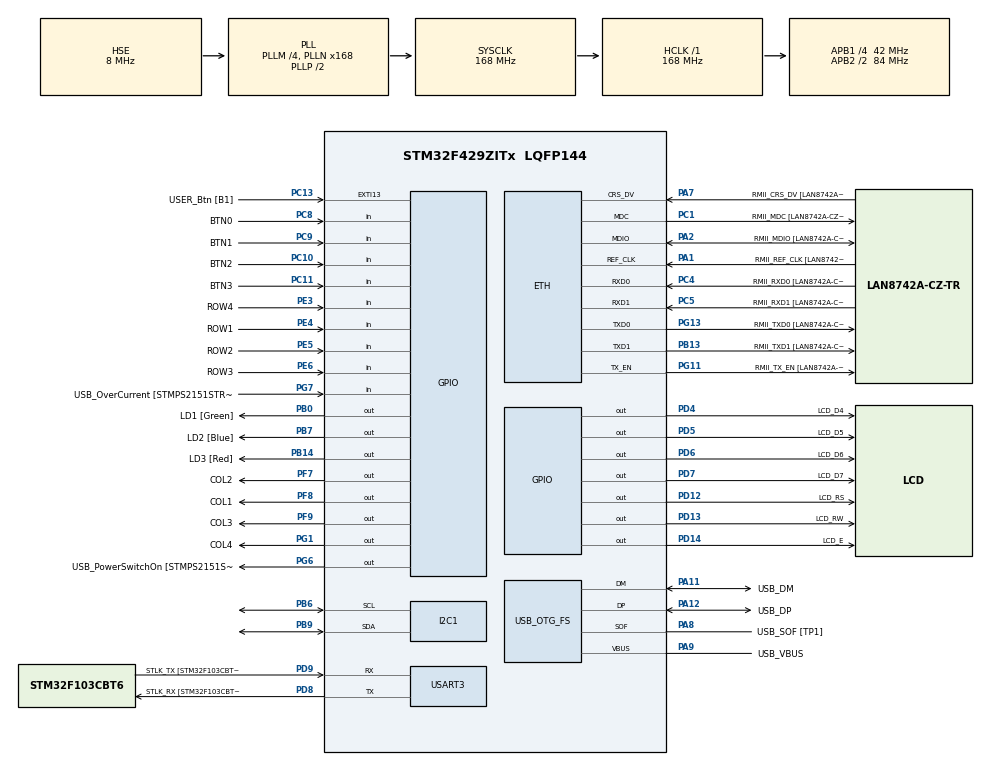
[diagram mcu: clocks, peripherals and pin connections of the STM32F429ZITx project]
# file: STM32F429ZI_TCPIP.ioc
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ETH.MACAddr=00\:80\:E1\:93\:39\:53
ETH.MediaInterface=ETH_MEDIA_INTERFACE_RMII
ETH.PHY_Name=LAN8742A_PHY_ADDRESS
ETH.PHY_Value=0
ETH.PhyAddress=0
LWIP.GATEWAY_ADDRESS=010.010.017.254
LWIP.IP_ADDRESS=010.010.017.142
LWIP.LWIP_DHCP=0
LWIP.NETMASK_ADDRESS=255.255.255.000
LWIP.Version=v2.1.2_Cube
Mcu.Family=STM32F4
Mcu.Name=STM32F429ZITx
Mcu.Package=LQFP144
NVIC.ETH_IRQn=true\:0\:0\:false\:false\:true\:true\:true
NVIC.ETH_WKUP_IRQn=true\:0\:0\:false\:false\:true\:true\:true
NVIC.PriorityGroup=NVIC_PRIORITYGROUP_4
NVIC.TIM1_TRG_COM_TIM11_IRQn=true\:0\:0\:false\:false\:true\:true\:true
PA1.GPIO_Label=RMII_REF_CLK [LAN8742A-CZ-TR_REFCLK0]
PA1.Mode=RMII
PA1.Signal=ETH_REF_CLK
PA10.GPIO_Label=USB_ID
PA10.Signal=USB_OTG_FS_ID
PA11.GPIO_Label=USB_DM
PA11.Mode=Device_Only
PA11.Signal=USB_OTG_FS_DM
PA12.GPIO_Label=USB_DP
PA12.Mode=Device_Only
PA12.Signal=USB_OTG_FS_DP
PA13.GPIO_Label=TMS
PA13.Mode=Serial_Wire
PA13.Signal=SYS_JTMS-SWDIO
PA14.GPIO_Label=TCK
PA14.Mode=Serial_Wire
PA14.Signal=SYS_JTCK-SWCLK
PA2.GPIO_Label=RMII_MDIO [LAN8742A-CZ-TR_MDIO]
PA2.Mode=RMII
PA2.Signal=ETH_MDIO
PA7.GPIO_Label=RMII_CRS_DV [LAN8742A-CZ-TR_CRS_DV]
PA7.Mode=RMII
PA7.Signal=ETH_CRS_DV
PA8.GPIO_Label=USB_SOF [TP1]
PA8.Mode=Activate_SOF_FS
PA8.Signal=USB_OTG_FS_SOF
PA9.GPIO_Label=USB_VBUS
PA9.Mode=Activate_VBUS
PA9.Signal=USB_OTG_FS_VBUS
PB0.GPIO_Label=LD1 [Green]
PB0.Signal=GPIO_Output
PB13.GPIO_Label=RMII_TXD1 [LAN8742A-CZ-TR_TXD1]
PB13.Mode=RMII
PB13.Signal=ETH_TXD1
PB14.GPIO_Label=LD3 [Red]
PB14.Signal=GPIO_Output
PB6.Mode=I2C
PB6.Signal=I2C1_SCL
PB7.GPIO_Label=LD2 [Blue]
PB7.Signal=GPIO_Output
PB9.Mode=I2C
PB9.Signal=I2C1_SDA
PC1.GPIO_Label=RMII_MDC [LAN8742A-CZ-TR_MDC]
PC1.Mode=RMII
PC1.Signal=ETH_MDC
PC10.GPIO_Label=BTN2
PC10.Signal=GPIO_Input
PC11.GPIO_Label=BTN3
PC11.Signal=GPIO_Input
PC13.GPIO_Label=USER_Btn [B1]
PC13.Signal=GPXTI13
PC14/OSC32_IN.Mode=LSE-External-Oscillator
PC14/OSC32_IN.Signal=RCC_OSC32_IN
PC15/OSC32_OUT.Mode=LSE-External-Oscillator
PC15/OSC32_OUT.Signal=RCC_OSC32_OUT
PC4.GPIO_Label=RMII_RXD0 [LAN8742A-CZ-TR_RXD0]
PC4.Mode=RMII
PC4.Signal=ETH_RXD0
PC5.GPIO_Label=RMII_RXD1 [LAN8742A-CZ-TR_RXD1]
PC5.Mode=RMII
PC5.Signal=ETH_RXD1
PC8.GPIO_Label=BTN0
PC8.Signal=GPIO_Input
PC9.GPIO_Label=BTN1
PC9.Signal=GPIO_Input
PD12.GPIO_Label=LCD_RS
PD12.Signal=GPIO_Output
PD13.GPIO_Label=LCD_RW
PD13.Signal=GPIO_Output
PD14.GPIO_Label=LCD_E
PD14.Signal=GPIO_Output
PD4.GPIO_Label=LCD_D4
PD4.Signal=GPIO_Output
PD5.GPIO_Label=LCD_D5
PD5.Signal=GPIO_Output
PD6.GPIO_Label=LCD_D6
PD6.Signal=GPIO_Output
PD7.GPIO_Label=LCD_D7
PD7.Signal=GPIO_Output
PD8.GPIO_Label=STLK_RX [STM32F103CBT6_PA3]
PD8.Mode=Asynchronous
PD8.Signal=USART3_TX
PD9.GPIO_Label=STLK_TX [STM32F103CBT6_PA2]
PD9.Mode=Asynchronous
PD9.Signal=USART3_RX
PE3.GPIO_Label=ROW4
PE3.GPIO_PuPd=GPIO_PULLDOWN
PE3.Signal=GPIO_Input
PE4.GPIO_Label=ROW1
PE4.GPIO_PuPd=GPIO_PULLDOWN
PE4.Signal=GPIO_Input
PE5.GPIO_Label=ROW2
PE5.GPIO_PuPd=GPIO_PULLDOWN
PE5.Signal=GPIO_Input
PE6.GPIO_Label=ROW3
PE6.GPIO_PuPd=GPIO_PULLDOWN
PE6.Signal=GPIO_Input
PF7.GPIO_Label=COL2
PF7.Signal=GPIO_Output
PF8.GPIO_Label=COL1
PF8.Signal=GPIO_Output
PF9.GPIO_Label=COL3
PF9.Signal=GPIO_Output
PG1.GPIO_Label=COL4
PG1.Signal=GPIO_Output
PG11.GPIO_Label=RMII_TX_EN [LAN8742A-CZ-TR_TXEN]
PG11.Mode=RMII
PG11.Signal=ETH_TX_EN
PG13.GPIO_Label=RMII_TXD0 [LAN8742A-CZ-TR_TXD0]
PG13.Mode=RMII
PG13.Signal=ETH_TXD0
PG6.GPIO_Label=USB_PowerSwitchOn [STMPS2151STR_EN]
PG6.Signal=GPIO_Output
PG7.GPIO_Label=USB_OverCurrent [STMPS2151STR_FAULT]
PG7.Signal=GPIO_Input
PH0/OSC_IN.GPIO_Label=MCO [STM32F103CBT6_PA8]
PH0/OSC_IN.Mode=HSE-External-Clock-Source
PH0/OSC_IN.Signal=RCC_OSC_IN
PH1/OSC_OUT.Mode=HSE-External-Clock-Source
PH1/OSC_OUT.Signal=RCC_OSC_OUT
ProjectManager.HeapSize=0x200
ProjectManager.StackSize=0x400
ProjectManager.TargetToolchain=STM32CubeIDE
RCC.48MHZClocksFreq_Value=48000000
RCC.AHBFreq_Value=168000000
RCC.APB1CLKDivider=RCC_HCLK_DIV4
RCC.APB1Freq_Value=42000000
RCC.APB1TimFreq_Value=84000000
RCC.APB2CLKDivider=RCC_HCLK_DIV2
RCC.APB2Freq_Value=84000000
RCC.APB2TimCLKDivider=2
RCC.APB2TimFreq_Value=168000000
RCC.CortexFreq_Value=168000000
RCC.HCLKFreq_Value=168000000
RCC.HSE_VALUE=8000000
RCC.HSI_VALUE=16000000
RCC.PLLM=4
RCC.PLLMUL=RCC_PLL_MUL9
RCC.PLLN=168
RCC.PLLQ=7
RCC.PRESCALERUSB=RCC_USBCLKSOURCE_PLL_DIV1_5
RCC.SYSCLKFreq_VALUE=168000000
RCC.SYSCLKSource=RCC_SYSCLKSOURCE_PLLCLK
RCC.SYSCLKSourceVirtual=RCC_SYSCLKSOURCE_PLLCLK
RCC.USBFreq_Value=48000000
RCC.VCOOutputFreq_Value=336000000
TIM11.Prescaler=168-1
USART3.VirtualMode=VM_ASYNC
USB_OTG_FS.VirtualMode=Device_Only
VP_LWIP_VS_Enabled.Mode=Enabled
VP_TIM11_VS_ClockSourceINT.Mode=Enable_Timer
board=NUCLEO-F429ZI

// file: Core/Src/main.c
/* USER CODE BEGIN Header */
/**
  ******************************************************************************
  * @file           : main.c
  * @brief          : Main program body
  ******************************************************************************
  * @attention
  *
  * <h2><center>&copy; Copyright (c) 2024 STMicroelectronics.
  * All rights reserved.</center></h2>
  *
  * This software component is licensed by ST under BSD 3-Clause license,
  * the "License"; You may not use this file except in compliance with the
  * License. You may obtain a copy of the License at:
  *                        opensource.org/licenses/BSD-3-Clause
  *
  ******************************************************************************
  */
/* USER CODE END Header */
#include "main.h"
#include "lwip.h"

/* USER CODE BEGIN Includes */
#include "circularQueue.h"
#include "udp_echoserver.h"
#include "calculater.h"
#include <stdio.h>
#include <string.h>
#include "i2c_lcd.h"
#include "udp.h"
/* USER CODE END Includes */

I2C_HandleTypeDef hi2c1;

TIM_HandleTypeDef htim11;

UART_HandleTypeDef huart3;

PCD_HandleTypeDef hpcd_USB_OTG_FS;

/* USER CODE BEGIN PV */
extern uint8_t udp_flag;     // Add 10.28
extern uint8_t led_flag; // 10.28
extern struct netif gnetif; //10.28
extern struct udp_pcb *upcb1;    // Add 10.28
//uint8_t key_value;
extern int count0;
extern int count1;
extern int count2;
extern int count3;

calculator calc = NULL;
ip_addr_t addr1;   // Add 10.28
struct pbuf *p1; // ADD 10.28 // send buffer
/* USER CODE END PV */

void SystemClock_Config(void);
static void MX_GPIO_Init(void);
static void MX_USART3_UART_Init(void);
static void MX_USB_OTG_FS_PCD_Init(void);
static void MX_I2C1_Init(void);
static void MX_TIM11_Init(void);
/* USER CODE BEGIN PFP */
extern uint8_t keypadScan();
extern Queue keypad_queue;
extern uint8_t button0_check();
extern uint8_t button1_check();
extern uint8_t button2_check();
extern uint8_t button3_check();
extern void convert_infix_to_postfix(char* infix, char* postfix);
extern void removec(char* source);
extern void Push(struct calculation** top_add, double x);
extern double Pop(struct calculation** top_add);
extern double evaluate(char* postfix);
extern void print_postfix(const char* postfix);
extern void i2c_lcd_init(void);
extern int new_input();

extern void gpio_lcd_init(void); //10.29
extern void gpio_lcd_cursor(int row , int col);
extern void gpio_lcd_write_string(char *string);
//extern void keypadInit();
/* USER CODE END PFP */

/* USER CODE BEGIN 0 */
#ifdef __GNUC__    // Add for printf
/* With GCC, small printf (option LD Linker->Libraries->Small printf
   set to 'Yes') calls __io_putchar() */
#define PUTCHAR_PROTOTYPE int __io_putchar(int ch)
#else
#define PUTCHAR_PROTOTYPE int fputc(int ch, FILE *f)
#endif /* __GNUC__ */
/**
  * @brief  Retargets the C library printf function to the USART.
  * @param  None
  * @retval None
  */
PUTCHAR_PROTOTYPE   // Add for printf
{
  /* Place your implementation of fputc here */
  /* e.g. write a character to the USART2 and Loop until the end of transmission */
  HAL_UART_Transmit(&huart3, (uint8_t *)&ch, 1, 0xFFFF);

  return ch;
}
//TIM11 : 65ms (1us * 65535 ==> about 65ms)
volatile int TIM11_65ms_counter = 0;
volatile int TIM11_sec_counter = 0;

void HAL_TIM_PeriodElapsedCallback(TIM_HandleTypeDef *htim)
{
	if(htim->Instance == TIM11)
	{
		TIM11_65ms_counter++;
	    uint8_t key_value = keypadScan();
	    uint8_t button_value2 = button2_check();
		uint8_t button_value3 = button3_check();

	    if (key_value)
	    {
	        Push(&calc, key_value);
	        Enqueue(&keypad_queue, key_value);
	    }

	    if (button_value2)
	    {
	        Push(&calc, button_value2);
	        Enqueue(&keypad_queue, button_value2);
	    }
	    if (button_value3)
		{
			Push(&calc, button_value3);
			Enqueue(&keypad_queue, button_value3);
		}

	}

}
/* USER CODE END 0 */

int main(void)
{
  /* USER CODE BEGIN 1 */
	char sbuff[50]; //ADD HS 10.28
  /* USER CODE END 1 */

  /* MCU Configuration--------------------------------------------------------*/

  /* Reset of all peripherals, Initializes the Flash interface and the Systick. */
  HAL_Init();

  /* Configure the system clock */
  SystemClock_Config();

  /* Initialize all configured peripherals */
  MX_GPIO_Init();
  MX_USART3_UART_Init();
  MX_USB_OTG_FS_PCD_Init();
  MX_I2C1_Init();
  MX_TIM11_Init();
  MX_LWIP_Init();
  /* USER CODE BEGIN 2 */
  HAL_TIM_Base_Start_IT(&htim11); //65msec timer Interrupt
  QueueInit(&keypad_queue);
  keypadInit();
  i2c_lcd_init();
  //udp_echoserver_init();

  gpio_lcd_init(); //10.29
  //create new UDP control block
  //upcb1 = udp_new(); //10.28 memory on
//  IP4_ADDR(&addr1, 10,10,17,142); //10.28 STM32 IP Address
 // IP4_ADDR(&addr1, 10,10,17,110); //10.28 STM32 IP Address
  //udp_bind(upcb1,IP_ADDR_ANY, 9999); //10.28 SW Port Num

  char infix[100];
  char postfix[100];
  char lcd_buff[100];

  //move_cursor(0,0);
  //lcd_string("Stack Calculator");

  char gpio_lcd_buff[100];

  /* USER CODE END 2 */

  /* Infinite loop */
  /* USER CODE BEGIN WHILE */

  while (1)
  {
	  gpio_lcd_cursor(0,0);
	  gpio_lcd_write_string("HELLO WORLD!");
	  button0_check();
	  button1_check();
	  static uint8_t data;
	  static uint8_t data2;
	  static int inp_index = 0;

		if(count0 != 0)
		{
			i2c_lcd_init();
			move_cursor(0,0);
			lcd_string("Stack Calculator");
			count0 = 0;
			inp_index = 0;
			memset(infix, 0, sizeof(infix));
			memset(postfix, 0, sizeof(postfix));

		}

		if(count1 != 0 && inp_index > 0)
		{
			if (infix[inp_index - 1] == '(')
			{
				count2--;
			}
			else if (infix[inp_index - 1] == ')')
			{
				count3--;
			}

			inp_index--;
			infix[inp_index] = '\0';
			count1 = 0;

			move_cursor(0, 0);
			lcd_string("                ");
			move_cursor(0,0);
			sprintf(lcd_buff,"%s",infix); //10.26
			lcd_string((unsigned char *)lcd_buff);
		}

		if (QIsEmpty(&keypad_queue) != TRUE)
			{
				data = Dequeue(&keypad_queue);
				data2 = Pop(&calc);

				if (data2 != '=')
				{
					infix[inp_index++] = data2;
					infix[inp_index] = '\0';
					printf("%s\n", infix);
					i2c_lcd_init();
					move_cursor(0,0);
					sprintf(lcd_buff,"%s",infix); //10.26
					lcd_string((unsigned char *)lcd_buff);
				}

				else if(count2 != count3)
				{
					move_cursor(0, 0);
					lcd_string("WrongParenthesis");

					inp_index = 0;
					memset(infix, 0, sizeof(infix));
					memset(postfix, 0, sizeof(postfix));

					HAL_Delay(1500);

					i2c_lcd_init();
					move_cursor(0,0);
					lcd_string("Stack Calculator");
					count2 = 0;
					count3 = 0;
				}
				else
				{

					for(int i = 0 ; i < 3 ; i++)
					{
						i2c_lcd_init();
						removec(infix);
						printf("empty line : %s\n",infix);
						move_cursor(0, 0);
						lcd_string("Empty line : ");
						move_cursor(1, 0);
						sprintf(lcd_buff, "%s", infix);
						lcd_string((unsigned char *)lcd_buff);

						HAL_Delay(1500);

						i2c_lcd_init();
						convert_infix_to_postfix(infix, postfix);
						printf("postfix: %s\n", postfix);
						move_cursor(0,0);
						lcd_string("Postfix : ");
						move_cursor(1,0);
						sprintf(lcd_buff,"%s",postfix); //10.26
						lcd_string((unsigned char *)lcd_buff);

						HAL_Delay(1500);

						i2c_lcd_init();
						double result = evaluate(postfix);
						printf("result: %.2f\n", result);
						move_cursor(0,0);
						lcd_string("Result : ");
						move_cursor(1,0);
						sprintf(lcd_buff,"%.2f",result); //10.26
						lcd_string((unsigned char *)lcd_buff);

						HAL_Delay(1500);

					}

					i2c_lcd_init();
				    move_cursor(0,0);
				    lcd_string("Stack Calculator");

				    inp_index = 0;
					memset(infix, 0, sizeof(infix));
					memset(postfix, 0, sizeof(postfix));

				}
	  		}
	//------------------- TCP/IP START --------------------
	ethernetif_input(&gnetif);
	sys_check_timeouts();
	if(led_flag == 1)
	{
		HAL_GPIO_WritePin(LD2_GPIO_Port, LD2_Pin, 1);
	}
	else
	{
		HAL_GPIO_WritePin(LD2_GPIO_Port, LD2_Pin, 0);
	}

    if(TIM11_65ms_counter >= 16)
    {
    	TIM11_65ms_counter = 0;
    	TIM11_sec_counter++;
    	udp_connect(upcb1, &addr1, 9999);

    	//sec_count : 0001
    	//sec_count : 0002
    	//sec_count : 0003
    	sprintf(sbuff,"sec_count : %04d", TIM11_sec_counter); //uart�?? ?��?��기에 \n?? ?��?��
    	p1 = pbuf_alloc(PBUF_TRANSPORT,strlen(sbuff), PBUF_POOL);
    	if(p1 != NULL)
    	{
    		//COPY DATA to pbuf
    		pbuf_take(p1, sbuff, strlen(sbuff));
    		//Send udp data
    		udp_send(upcb1, p1);
    		udp_disconnect(upcb1);
    		//free pbuf
    		pbuf_free(p1);
    	}
    	else
    	{
    		printf("pbuf not allocated !!! \n");
    	}
    }

	//------------------- TCP/IP END --------------------
	//HAL_Delay(1);
    /* USER CODE END WHILE */

	}
}

void SystemClock_Config(void)
{
  RCC_OscInitTypeDef RCC_OscInitStruct = {0};
  RCC_ClkInitTypeDef RCC_ClkInitStruct = {0};

  /** Configure the main internal regulator output voltage
  */
  __HAL_RCC_PWR_CLK_ENABLE();
  __HAL_PWR_VOLTAGESCALING_CONFIG(PWR_REGULATOR_VOLTAGE_SCALE1);
  /** Initializes the RCC Oscillators according to the specified parameters
  * in the RCC_OscInitTypeDef structure.
  */
  RCC_OscInitStruct.OscillatorType = RCC_OSCILLATORTYPE_HSE;
  RCC_OscInitStruct.HSEState = RCC_HSE_BYPASS;
  RCC_OscInitStruct.PLL.PLLState = RCC_PLL_ON;
  RCC_OscInitStruct.PLL.PLLSource = RCC_PLLSOURCE_HSE;
  RCC_OscInitStruct.PLL.PLLM = 4;
  RCC_OscInitStruct.PLL.PLLN = 168;
  RCC_OscInitStruct.PLL.PLLP = RCC_PLLP_DIV2;
  RCC_OscInitStruct.PLL.PLLQ = 7;
  if (HAL_RCC_OscConfig(&RCC_OscInitStruct) != HAL_OK)
  {
    Error_Handler();
  }
  /** Initializes the CPU, AHB and APB buses clocks
  */
  RCC_ClkInitStruct.ClockType = RCC_CLOCKTYPE_HCLK|RCC_CLOCKTYPE_SYSCLK
                              |RCC_CLOCKTYPE_PCLK1|RCC_CLOCKTYPE_PCLK2;
  RCC_ClkInitStruct.SYSCLKSource = RCC_SYSCLKSOURCE_PLLCLK;
  RCC_ClkInitStruct.AHBCLKDivider = RCC_SYSCLK_DIV1;
  RCC_ClkInitStruct.APB1CLKDivider = RCC_HCLK_DIV4;
  RCC_ClkInitStruct.APB2CLKDivider = RCC_HCLK_DIV2;

  if (HAL_RCC_ClockConfig(&RCC_ClkInitStruct, FLASH_LATENCY_5) != HAL_OK)
  {
    Error_Handler();
  }
}

static void MX_I2C1_Init(void)
{

  hi2c1.Instance = I2C1;
  hi2c1.Init.ClockSpeed = 100000;
  hi2c1.Init.DutyCycle = I2C_DUTYCYCLE_2;
  hi2c1.Init.OwnAddress1 = 0;
  hi2c1.Init.AddressingMode = I2C_ADDRESSINGMODE_7BIT;
  hi2c1.Init.DualAddressMode = I2C_DUALADDRESS_DISABLE;
  hi2c1.Init.OwnAddress2 = 0;
  hi2c1.Init.GeneralCallMode = I2C_GENERALCALL_DISABLE;
  hi2c1.Init.NoStretchMode = I2C_NOSTRETCH_DISABLE;
  if (HAL_I2C_Init(&hi2c1) != HAL_OK)
  {
    Error_Handler();
  }
  /** Configure Analogue filter
  */
  if (HAL_I2CEx_ConfigAnalogFilter(&hi2c1, I2C_ANALOGFILTER_ENABLE) != HAL_OK)
  {
    Error_Handler();
  }
  /** Configure Digital filter
  */
  if (HAL_I2CEx_ConfigDigitalFilter(&hi2c1, 0) != HAL_OK)
  {
    Error_Handler();
  }

}

static void MX_TIM11_Init(void)
{

  htim11.Instance = TIM11;
  htim11.Init.Prescaler = 168-1;
  htim11.Init.CounterMode = TIM_COUNTERMODE_UP;
  htim11.Init.Period = 65535;
  htim11.Init.ClockDivision = TIM_CLOCKDIVISION_DIV1;
  htim11.Init.AutoReloadPreload = TIM_AUTORELOAD_PRELOAD_DISABLE;
  if (HAL_TIM_Base_Init(&htim11) != HAL_OK)
  {
    Error_Handler();
  }

}

static void MX_USART3_UART_Init(void)
{

  huart3.Instance = USART3;
  huart3.Init.BaudRate = 115200;
  huart3.Init.WordLength = UART_WORDLENGTH_8B;
  huart3.Init.StopBits = UART_STOPBITS_1;
  huart3.Init.Parity = UART_PARITY_NONE;
  huart3.Init.Mode = UART_MODE_TX_RX;
  huart3.Init.HwFlowCtl = UART_HWCONTROL_NONE;
  huart3.Init.OverSampling = UART_OVERSAMPLING_16;
  if (HAL_UART_Init(&huart3) != HAL_OK)
  {
    Error_Handler();
  }

}

static void MX_USB_OTG_FS_PCD_Init(void)
{

  hpcd_USB_OTG_FS.Instance = USB_OTG_FS;
  hpcd_USB_OTG_FS.Init.dev_endpoints = 4;
  hpcd_USB_OTG_FS.Init.speed = PCD_SPEED_FULL;
  hpcd_USB_OTG_FS.Init.dma_enable = DISABLE;
  hpcd_USB_OTG_FS.Init.phy_itface = PCD_PHY_EMBEDDED;
  hpcd_USB_OTG_FS.Init.Sof_enable = ENABLE;
  hpcd_USB_OTG_FS.Init.low_power_enable = DISABLE;
  hpcd_USB_OTG_FS.Init.lpm_enable = DISABLE;
  hpcd_USB_OTG_FS.Init.vbus_sensing_enable = ENABLE;
  hpcd_USB_OTG_FS.Init.use_dedicated_ep1 = DISABLE;
  if (HAL_PCD_Init(&hpcd_USB_OTG_FS) != HAL_OK)
  {
    Error_Handler();
  }

}

static void MX_GPIO_Init(void)
{
  GPIO_InitTypeDef GPIO_InitStruct = {0};

  /* GPIO Ports Clock Enable */
  __HAL_RCC_GPIOE_CLK_ENABLE();
  __HAL_RCC_GPIOC_CLK_ENABLE();
  __HAL_RCC_GPIOF_CLK_ENABLE();
  __HAL_RCC_GPIOH_CLK_ENABLE();
  __HAL_RCC_GPIOA_CLK_ENABLE();
  __HAL_RCC_GPIOB_CLK_ENABLE();
  __HAL_RCC_GPIOG_CLK_ENABLE();
  __HAL_RCC_GPIOD_CLK_ENABLE();

  /*Configure GPIO pin Output Level */
  HAL_GPIO_WritePin(GPIOF, COL2_Pin|COL1_Pin|COL3_Pin, GPIO_PIN_RESET);

  /*Configure GPIO pin Output Level */
  HAL_GPIO_WritePin(GPIOB, LD1_Pin|LD3_Pin|LD2_Pin, GPIO_PIN_RESET);

  /*Configure GPIO pin Output Level */
  HAL_GPIO_WritePin(GPIOG, COL4_Pin|USB_PowerSwitchOn_Pin, GPIO_PIN_RESET);

  /*Configure GPIO pin Output Level */
  HAL_GPIO_WritePin(GPIOD, LCD_RS_Pin|LCD_RW_Pin|LCD_E_Pin|LCD_D4_Pin
                          |LCD_D5_Pin|LCD_D6_Pin|LCD_D7_Pin, GPIO_PIN_RESET);

  /*Configure GPIO pins : ROW4_Pin ROW1_Pin ROW2_Pin ROW3_Pin */
  GPIO_InitStruct.Pin = ROW4_Pin|ROW1_Pin|ROW2_Pin|ROW3_Pin;
  GPIO_InitStruct.Mode = GPIO_MODE_INPUT;
  GPIO_InitStruct.Pull = GPIO_PULLDOWN;
  HAL_GPIO_Init(GPIOE, &GPIO_InitStruct);

  /*Configure GPIO pin : USER_Btn_Pin */
  GPIO_InitStruct.Pin = USER_Btn_Pin;
  GPIO_InitStruct.Mode = GPIO_MODE_IT_RISING;
  GPIO_InitStruct.Pull = GPIO_NOPULL;
  HAL_GPIO_Init(USER_Btn_GPIO_Port, &GPIO_InitStruct);

  /*Configure GPIO pins : COL2_Pin COL1_Pin COL3_Pin */
  GPIO_InitStruct.Pin = COL2_Pin|COL1_Pin|COL3_Pin;
  GPIO_InitStruct.Mode = GPIO_MODE_OUTPUT_PP;
  GPIO_InitStruct.Pull = GPIO_NOPULL;
  GPIO_InitStruct.Speed = GPIO_SPEED_FREQ_LOW;
  HAL_GPIO_Init(GPIOF, &GPIO_InitStruct);

  /*Configure GPIO pins : LD1_Pin LD3_Pin LD2_Pin */
  GPIO_InitStruct.Pin = LD1_Pin|LD3_Pin|LD2_Pin;
  GPIO_InitStruct.Mode = GPIO_MODE_OUTPUT_PP;
  GPIO_InitStruct.Pull = GPIO_NOPULL;
  GPIO_InitStruct.Speed = GPIO_SPEED_FREQ_LOW;
  HAL_GPIO_Init(GPIOB, &GPIO_InitStruct);

  /*Configure GPIO pins : COL4_Pin USB_PowerSwitchOn_Pin */
  GPIO_InitStruct.Pin = COL4_Pin|USB_PowerSwitchOn_Pin;
  GPIO_InitStruct.Mode = GPIO_MODE_OUTPUT_PP;
  GPIO_InitStruct.Pull = GPIO_NOPULL;
  GPIO_InitStruct.Speed = GPIO_SPEED_FREQ_LOW;
  HAL_GPIO_Init(GPIOG, &GPIO_InitStruct);

  /*Configure GPIO pins : LCD_RS_Pin LCD_RW_Pin LCD_E_Pin LCD_D4_Pin
                           LCD_D5_Pin LCD_D6_Pin LCD_D7_Pin */
  GPIO_InitStruct.Pin = LCD_RS_Pin|LCD_RW_Pin|LCD_E_Pin|LCD_D4_Pin
                          |LCD_D5_Pin|LCD_D6_Pin|LCD_D7_Pin;
  GPIO_InitStruct.Mode = GPIO_MODE_OUTPUT_PP;
  GPIO_InitStruct.Pull = GPIO_NOPULL;
  GPIO_InitStruct.Speed = GPIO_SPEED_FREQ_LOW;
  HAL_GPIO_Init(GPIOD, &GPIO_InitStruct);

  /*Configure GPIO pin : USB_OverCurrent_Pin */
  GPIO_InitStruct.Pin = USB_OverCurrent_Pin;
  GPIO_InitStruct.Mode = GPIO_MODE_INPUT;
  GPIO_InitStruct.Pull = GPIO_NOPULL;
  HAL_GPIO_Init(USB_OverCurrent_GPIO_Port, &GPIO_InitStruct);

  /*Configure GPIO pins : BTN0_Pin BTN1_Pin BTN2_Pin BTN3_Pin */
  GPIO_InitStruct.Pin = BTN0_Pin|BTN1_Pin|BTN2_Pin|BTN3_Pin;
  GPIO_InitStruct.Mode = GPIO_MODE_INPUT;
  GPIO_InitStruct.Pull = GPIO_NOPULL;
  HAL_GPIO_Init(GPIOC, &GPIO_InitStruct);

}

void Error_Handler(void)
{
  __disable_irq();
  while (1)
  {
  }
}

/************************ (C) COPYRIGHT STMicroelectronics *****END OF FILE****/
